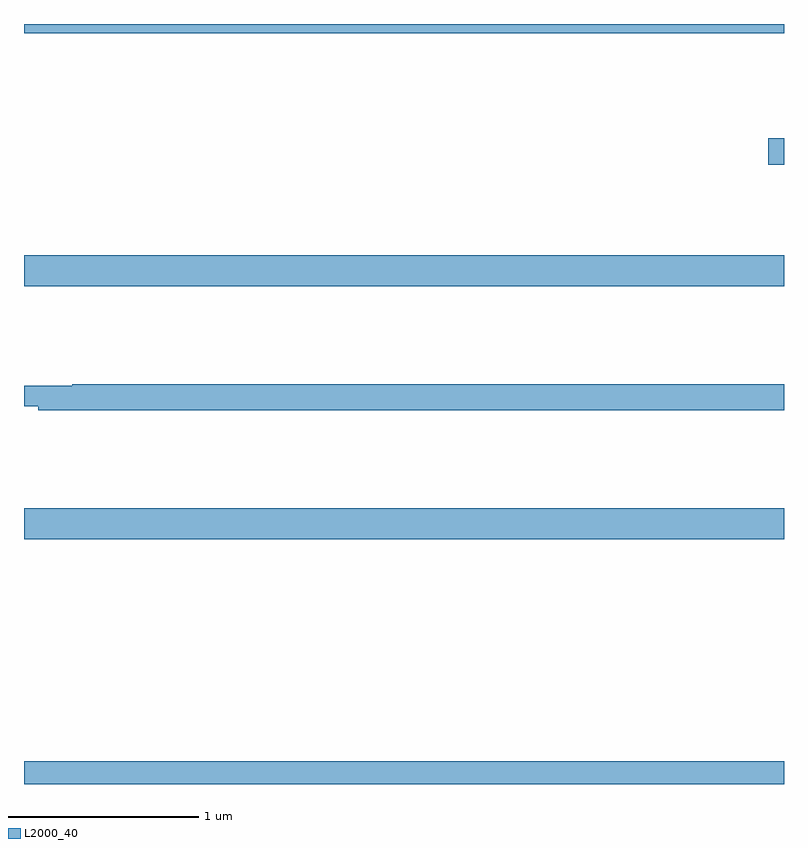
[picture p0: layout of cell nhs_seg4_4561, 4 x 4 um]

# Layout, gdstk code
import gdstk
lib = gdstk.Library(unit=1e-6, precision=1e-09)
def R(c, l, rs):  # rectangles x0, y0, x1, y1
    for r in rs: c.add(gdstk.rectangle(r[:2], r[2:], *l))
def P(c, l, *ps):  # polygons
    for p in ps: c.add(gdstk.Polygon(p, *l))
L2000_40 = (2000, 40)

nhs_seg4_4561 = lib.new_cell('nhs_seg4_4561')
R(nhs_seg4_4561, L2000_40, [(357,760.9,361,761.02), (357,762.188,361,762.352), (357,763.52,361,763.684), (360.918,764.158,361,764.3), (357,764.852,361,764.9)])
P(nhs_seg4_4561, L2000_40, [(361,763.004),(357.255,763.004),(357.255,762.997),(357,762.997),(357,762.887),(357.076,762.887),(357.076,762.868),(361,762.868)])

lib.write_gds('nhs_seg4_4561.gds')
